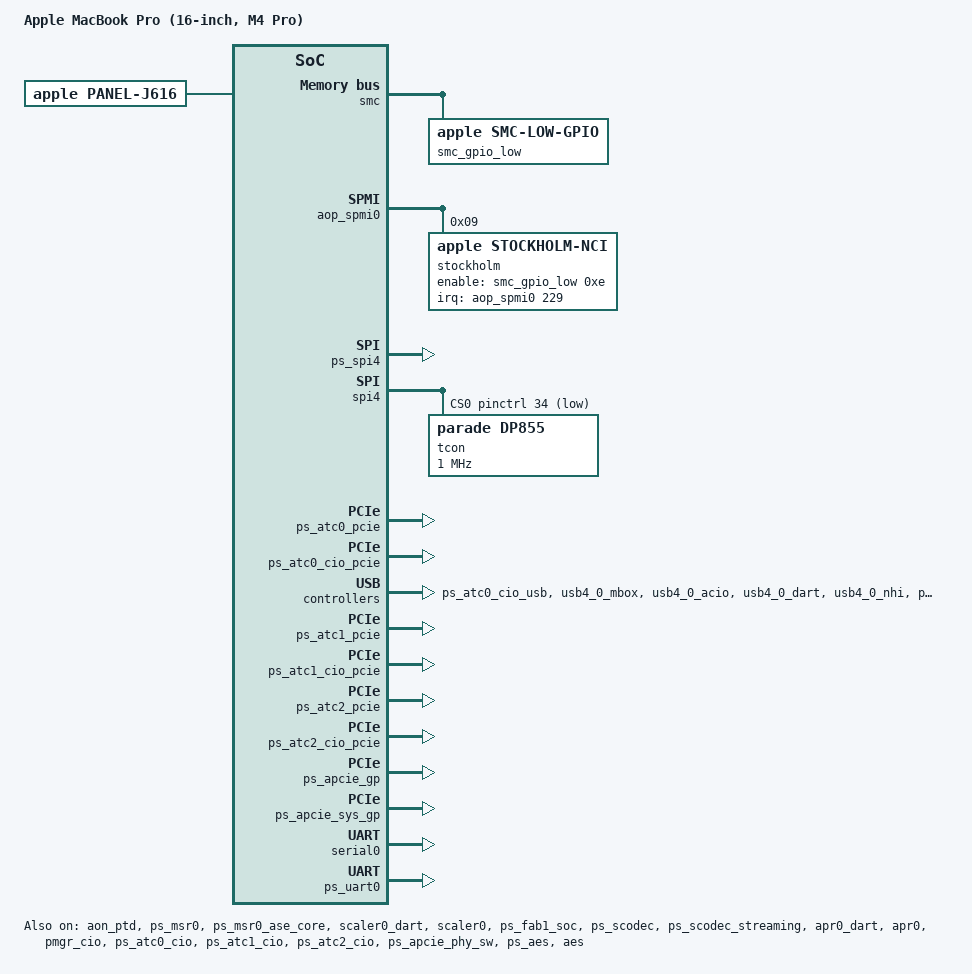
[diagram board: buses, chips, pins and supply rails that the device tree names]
// SPDX-License-Identifier: GPL-2.0+ OR MIT
/*
 * MacBook Pro (16-inch, M4 Pro)
 *
 * target-type: J616s
 *
 * Copyright The Asahi Linux Contributors
 */

/dts-v1/;

#include "t6040.dtsi"
#include "t604x-j614-j616.dtsi"

/ {
	compatible = "apple,j616s", "apple,t6040", "apple,arm-platform";
	model = "Apple MacBook Pro (16-inch, M4 Pro)";
};

/* ADT /arm-io/wlan module-instance */
&wifi0 {
	brcm,board-type = "apple,hostomel";
	/* WLAN host wake (PCIe WAKE#), active high */
	wake-gpios = <&pinctrl 39 GPIO_ACTIVE_HIGH>;
	wakeup-source;
};

&bluetooth0 {
	brcm,board-type = "apple,hostomel";
	/* Bluetooth host wake (PCIe WAKE#), active high */
	wake-gpios = <&pinctrl 40 GPIO_ACTIVE_HIGH>;
};

&smc {
	smc_gpio_low: gpio-low {
		compatible = "apple,smc-low-gpio";
		gpio-controller;
		#gpio-cells = <2>;
		apple,output-templates = <0xe 0x00800000>;
	};
};

/* The 16-inch chassis has High Power mode */
&clpc {
	apple,high-power-mode;
};

/*
 * ADT /arm-io/aon-ptd ptd_data_table: the battery record ("IFtb", layout 1,
 * slots 0x12-0x15). Only its peek aperture is read.
 */
&aon_ptd {
	apple,battery-record = <0x49467462 1 0x12 4>;
	status = "okay";
};

&aop_spmi0 {
	status = "okay";

	stockholm: nfc@9 {
		compatible = "apple,stockholm-nci";
		reg = <9 SPMI_USID>;
		interrupt-parent = <&aop_spmi0>;
		interrupts = <229 IRQ_TYPE_EDGE_RISING>,
			     <230 IRQ_TYPE_EDGE_RISING>,
			     <227 IRQ_TYPE_EDGE_RISING>;
		interrupt-names = "host-wake", "data-ready", "error";
		enable-gpios = <&smc_gpio_low 0xe GPIO_ACTIVE_HIGH>;
	};
};

&panel {
	compatible = "apple,panel-j616", "apple,panel-mini-led", "apple,panel";
	width-mm = <345>;
	height-mm = <223>;
	adj-height-mm = <216>;
};

&aop_audio {
	apple,chassis-name = "J616";
};

&sound {
	compatible = "apple,j616-macaudio", "apple,macaudio";
	model = "MacBook Pro J616";
};

&sound_jack {
	compatible = "apple,j616-macaudio-jack", "apple,macaudio";
	model = "MacBook Pro J616 Jack";
};

&mtp_mt {
	firmware-name = "apple/tpmtfw-j616s.bin";
};

/*
 * Per-device factory data from this Mac's own iBoot system container: the
 * sealed calibration and the sealed root key.
 */
&mesa {
	firmware-name = "apple/mesacal-j616s.bin", "apple/msrk-j616s.bin";
};

&i2c4 {
	sd_card_control: card-control@20 {
		compatible = "apple,t6041-sd-card-control", "apple,sd-card-control";
		reg = <0x20>;
		status = "disabled";
	};
};

&i2c8 {
	display_pcon: display-converter@8 {
		compatible = "apple,t6041-display-pcon", "apple,display-pcon";
		reg = <0x8>;
		status = "disabled";
	};
};

/*
 * Panel timing controller. Its chip select is AP GPIO 34.
 *
 * The downstream bus stays disabled: with the panel on, the controller
 * answers every access request with a refusal (acknowledgment 3), and
 * with the panel off its registers read back as zero, so the TMP103
 * panel sensors cannot be reached from the AP.
 */
&ps_spi4 {
	status = "okay";
};

&spi4 {
	cs-gpios = <&pinctrl 34 GPIO_ACTIVE_LOW>;
	status = "okay";

	tcon: panel-controller@0 {
		compatible = "parade,dp855";
		reg = <0>;
		spi-max-frequency = <1000000>;
		spi-cs-setup-delay-ns = <20>;
		spi-cs-hold-delay-ns = <20>;

		i2c {
			#address-cells = <1>;
			#size-cells = <0>;
			status = "disabled";

			temperature-sensor@70 {
				compatible = "ti,tmp103";
				reg = <0x70>;
				read-only;
				status = "disabled";
			};

			/*
			 * 0x71 is also the panel source driver write-protect
			 * endpoint on this bus, which the driver never reaches.
			 */
			temperature-sensor@71 {
				compatible = "ti,tmp103";
				reg = <0x71>;
				read-only;
				status = "disabled";
			};

			temperature-sensor@72 {
				compatible = "ti,tmp103";
				reg = <0x72>;
				read-only;
				status = "disabled";
			};
		};
	};
};

&i2c6 {
	retimer@18 {
		compatible = "apple,t6041-atcrt", "apple,atcrt";
		reg = <0x18>;
		status = "disabled";
	};
	retimer@19 {
		compatible = "apple,t6041-atcrt", "apple,atcrt";
		reg = <0x19>;
		status = "disabled";
	};
	retimer@1a {
		compatible = "apple,t6041-atcrt", "apple,atcrt";
		reg = <0x1a>;
		status = "disabled";
	};
};

/* Scaler/CSC (MSR) and its DART, proven on this board. */
&ps_msr0 {
	status = "okay";
};

&ps_msr0_ase_core {
	status = "okay";
};

&scaler0_dart {
	status = "okay";
};

&scaler0 {
	status = "okay";
};

/*
 * ProRes encoder and its DART. The engine runs with SCODEC_STREAMING (and so
 * SCODEC) powered. The driver has built-in power-up rows for it; an optional
 * apple/prores-t6041-init.bin replaces them.
 */
&ps_fab1_soc {
	status = "okay";
};

&ps_scodec {
	status = "okay";
};

&ps_scodec_streaming {
	status = "okay";
};

&apr0_dart {
	status = "okay";
};

&apr0 {
	status = "okay";
};

/*
 * USB4/Thunderbolt on all three Type-C ports: typec0 (left back, ACIO0),
 * typec1 (left front, ACIO1) and typec2 (right, ACIO2). The loader hands
 * each router its router, adapter and NHI tuning and its DROM over. No PCIe
 * tunnels yet: host-to-host (XDomain, thunderbolt-net) and USB4 links only.
 */
&pmgr_cio {
	status = "okay";
};

&ps_atc0_cio {
	status = "okay";
};

&ps_atc0_pcie {
	status = "okay";
};

&ps_atc0_cio_pcie {
	status = "okay";
};

&ps_atc0_cio_usb {
	status = "okay";
};

&usb4_0_mbox {
	status = "okay";
};

&usb4_0_acio {
	/delete-property/ apple,pcie-tunnel;
	status = "okay";
};

&usb4_0_dart {
	power-domains = <&ps_atc0_cio>;
	/* ADT dart-acio0 vm-base: the NHI addresses its rings below 1 TiB + 4 GiB. */
	apple,dma-range = <0x100 0x4000 0x0 0xffff0000>;
	status = "okay";
};

&usb4_0_nhi {
	status = "okay";
};

&ps_atc1_cio {
	status = "okay";
};

&ps_atc1_pcie {
	status = "okay";
};

&ps_atc1_cio_pcie {
	status = "okay";
};

&ps_atc1_cio_usb {
	status = "okay";
};

&usb4_1_mbox {
	status = "okay";
};

&usb4_1_acio {
	/delete-property/ apple,pcie-tunnel;
	status = "okay";
};

&usb4_1_dart {
	power-domains = <&ps_atc1_cio>;
	/* The same DVA window as the ACIO0 router DART. */
	apple,dma-range = <0x100 0x4000 0x0 0xffff0000>;
	status = "okay";
};

&usb4_1_nhi {
	status = "okay";
};

&ps_atc2_cio {
	status = "okay";
};

&ps_atc2_pcie {
	status = "okay";
};

&ps_atc2_cio_pcie {
	status = "okay";
};

&ps_atc2_cio_usb {
	status = "okay";
};

&usb4_2_mbox {
	status = "okay";
};

&usb4_2_acio {
	/delete-property/ apple,pcie-tunnel;
	status = "okay";
};

&usb4_2_dart {
	power-domains = <&ps_atc2_cio>;
	/* The same DVA window as the ACIO0 router DART. */
	apple,dma-range = <0x100 0x4000 0x0 0xffff0000>;
	status = "okay";
};

&usb4_2_nhi {
	status = "okay";
};

/*
 * The internal PCIe controller (Wi-Fi/Bluetooth, SD reader) needs APCIE_GP,
 * APCIE_SYS_GP and APCIE_PHY_SW on top of the always-on ANS/APCIE_ST*
 * states (ADT apcie0 clock-gates). iBoot leaves them on. The driver keeps
 * internal links up through suspend-to-idle and cannot retrain them after
 * a power cycle, so describe them as always-on: Linux now holds what it
 * needs instead of relying on iBoot's state.
 */
&ps_apcie_gp {
	apple,always-on;
	status = "okay";
};

&ps_apcie_sys_gp {
	apple,always-on;
	status = "okay";
};

&ps_apcie_phy_sw {
	apple,always-on;
	status = "okay";
};

&pcie0 {
	power-domains = <&ps_apcie_sys_gp>, <&ps_apcie_phy_sw>;
};

/* The debug UART on the DebugUSB port; it is not the console. */
&serial0 {
	status = "okay";
};

&ps_uart0 {
	status = "okay";
};

/* SIO AES engine, software keys only. */
&ps_aes {
	status = "okay";
};

&aes {
	status = "okay";
};
